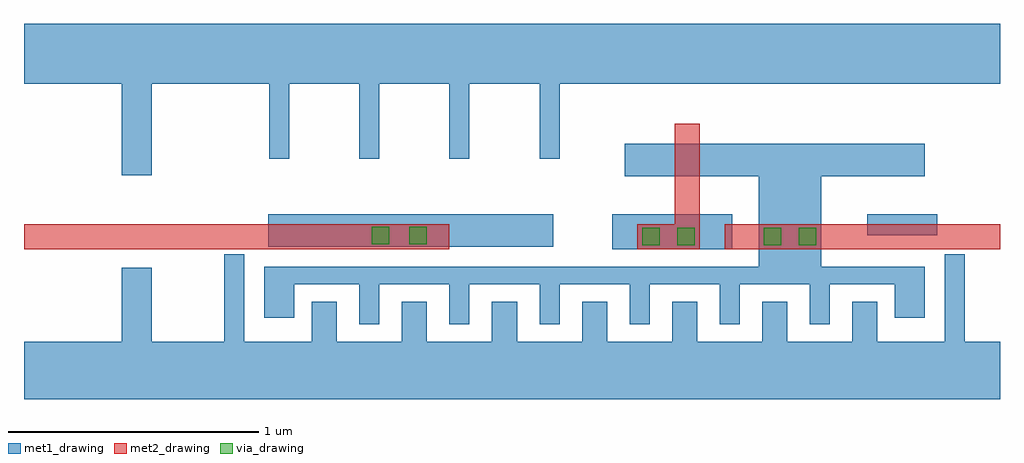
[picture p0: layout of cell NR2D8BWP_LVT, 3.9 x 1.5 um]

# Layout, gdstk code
import gdstk
lib = gdstk.Library(unit=1e-6, precision=1e-09)
def R(c, l, rs):  # rectangles x0, y0, x1, y1
    for r in rs: c.add(gdstk.rectangle(r[:2], r[2:], *l))
def P(c, l, *ps):  # polygons
    for p in ps: c.add(gdstk.Polygon(p, *l))
met1_drawing = (31, 0)
met2_drawing = (32, 0)
via_drawing = (51, 0)

nr2d8bwp_lvt = lib.new_cell('NR2D8BWP_LVT')
R(nr2d8bwp_lvt, met1_drawing, [(2.3,0.55,2.78,0.69), (0.925,0.56,2.065,0.69), (3.32,0.605,3.6,0.69)])
P(nr2d8bwp_lvt, met1_drawing, [(0.93,0.91),(0.93,1.21),(0.68,1.21),(0.68,1.45),(3.85,1.45),(3.85,1.21),(2.09,1.21),(2.09,0.91),(2.01,0.91),(2.01,1.21),(1.73,1.21),(1.73,0.91),(1.65,0.91),(1.65,1.21),(1.37,1.21),(1.37,0.91),(1.29,0.91),(1.29,1.21),(1.01,1.21),(1.01,0.91)],
  [(1.29,0.25),(1.29,0.41),(1.03,0.41),(1.03,0.275),(0.91,0.275),(0.91,0.48),(2.885,0.48),(2.885,0.84),(2.35,0.84),(2.35,0.97),(3.55,0.97),(3.55,0.84),(3.135,0.84),(3.135,0.48),(3.55,0.48),(3.55,0.275),(3.43,0.275),(3.43,0.41),(3.17,0.41),(3.17,0.25),(3.09,0.25),(3.09,0.41),(2.81,0.41),(2.81,0.25),(2.73,0.25),(2.73,0.41),(2.45,0.41),(2.45,0.25),(2.37,0.25),(2.37,0.41),(2.09,0.41),(2.09,0.25),(2.01,0.25),(2.01,0.41),(1.73,0.41),(1.73,0.25),(1.65,0.25),(1.65,0.41),(1.37,0.41),(1.37,0.25)],
  [(0.68,-0.05),(0.68,0.18),(0.75,0.18),(0.75,0.53),(0.83,0.53),(0.83,0.18),(1.1,0.18),(1.1,0.34),(1.2,0.34),(1.2,0.18),(1.46,0.18),(1.46,0.34),(1.56,0.34),(1.56,0.18),(1.82,0.18),(1.82,0.34),(1.92,0.34),(1.92,0.18),(2.18,0.18),(2.18,0.34),(2.28,0.34),(2.28,0.18),(2.54,0.18),(2.54,0.34),(2.64,0.34),(2.64,0.18),(2.9,0.18),(2.9,0.34),(3,0.34),(3,0.18),(3.26,0.18),(3.26,0.34),(3.36,0.34),(3.36,0.18),(3.63,0.18),(3.63,0.53),(3.71,0.53),(3.71,0.18),(3.85,0.18),(3.85,-0.05)],
  [(0.34,0.845),(0.34,1.21),(-0.05,1.21),(-0.05,1.45),(0.68,1.45),(0.68,1.21),(0.46,1.21),(0.46,0.845)],
  [(-0.05,-0.05),(-0.05,0.18),(0.34,0.18),(0.34,0.475),(0.46,0.475),(0.46,0.18),(0.68,0.18),(0.68,-0.05)])
R(nr2d8bwp_lvt, met2_drawing, [(-0.05,0.55,1.65,0.65), (2.4,0.55,2.65,0.65), (2.55,0.55,2.65,1.05), (2.75,0.55,3.85,0.65)])
R(nr2d8bwp_lvt, via_drawing, [(2.42,0.565,2.49,0.635), (2.56,0.565,2.63,0.635), (2.905,0.565,2.975,0.635), (3.045,0.565,3.115,0.635), (1.34,0.57,1.41,0.64), (1.49,0.57,1.56,0.64)])

lib.write_gds('NR2D8BWP_LVT.gds')
